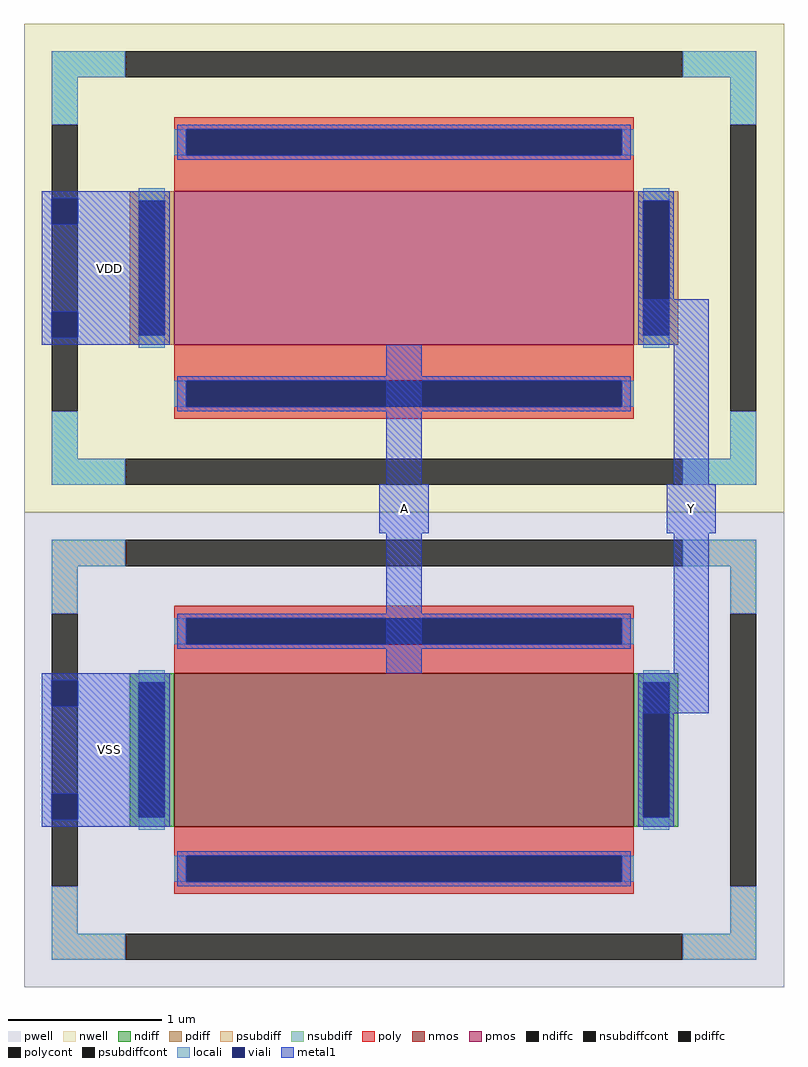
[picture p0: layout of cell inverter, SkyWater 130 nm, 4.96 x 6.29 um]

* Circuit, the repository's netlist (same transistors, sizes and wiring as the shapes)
** sch_path: /home/uri/p/tt10-sonos-flash-party/xschem/inverter.sch
.subckt inverter A Y VDD VSS
*.PININFO A:I Y:O VDD:I VSS:I
XM2 Y A VSS VSS sky130_fd_pr__nfet_01v8 L=3 W=1 nf=1 m=1
XM1 Y A VDD VDD sky130_fd_pr__pfet_01v8 L=3 W=1 nf=1 m=1
.ends
.end

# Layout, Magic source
magic
tech sky130A
magscale 1 2
<< viali >>
rect 36 376 70 410
rect 36 228 70 262
rect 36 -253 70 -219
rect 36 -401 70 -367
<< metal1 >>
rect 23 410 190 419
rect 23 376 36 410
rect 70 376 190 410
rect 23 262 190 376
rect 23 228 36 262
rect 70 228 190 262
rect 23 219 190 228
rect 808 226 894 278
rect 473 37 519 219
rect 848 37 894 226
rect 464 -27 528 37
rect 839 -27 903 37
rect 473 -210 519 -27
rect 848 -210 894 -27
rect 23 -219 190 -210
rect 23 -253 36 -219
rect 70 -253 190 -219
rect 23 -367 190 -253
rect 806 -262 894 -210
rect 23 -401 36 -367
rect 70 -401 190 -367
rect 23 -410 190 -401
use sky130_fd_pr__pfet_01v8_29FY9H  XM1
transform 1 0 496 0 1 319
box -496 -319 496 319
use sky130_fd_pr__nfet_01v8_KAAY2V  XM2
transform 1 0 496 0 1 -310
box -496 -310 496 310
<< labels >>
flabel metal1 464 -27 528 37 0 FreeMono 64 0 0 0 A
port 0 nsew signal input
flabel metal1 839 -27 903 37 0 FreeMono 64 0 0 0 Y
port 1 nsew signal output
flabel metal1 40 287 184 351 0 FreeMono 64 0 0 0 VDD
port 2 nsew power input
flabel metal1 40 -342 184 -278 0 FreeMono 64 0 0 0 VSS
port 3 nsew ground input
<< end >>

# cell sky130_fd_pr__pfet_01v8_29FY9H: kit device sky130_fd_pr__pfet_01v8, w 1.0 l 3.0 m 1 nf 1 diffcov 100 polycov 100 guard 1 glc 1 grc 1 gtc 1 gbc 1 tbcov 100 rlcov 100 topc 1 botc 1 poverlap 0 doverlap 1 lmin 0.15 wmin 0.42 class mosfet compatible {sky130_fd_pr__pfet_01v8 sky130_fd_pr__pfet_01v8_lvt sky130_fd_pr__pfet_01v8_hvt sky130_fd_pr__pfet_g5v0d10v5} full_metal 1 viasrc 100 viadrn 100 viagate 100 viagb 0 viagr 0 viagl 0 viagt 0 ad {int((nf+1)/2) * W/nf * 0.29} as {int((nf+2)/2) * W/nf * 0.29} pd {2*int((nf+1)/2) * (W/nf + 0.29)} ps {2*int((nf+2)/2) * (W/nf + 0.29)} nrd {0.29 / W} nrs {0.29 / W} sa 0 sb 0 sd 0 mult 1

# cell sky130_fd_pr__nfet_01v8_KAAY2V: kit device sky130_fd_pr__nfet_01v8, w 1.0 l 3.0 m 1 nf 1 diffcov 100 polycov 100 guard 1 glc 1 grc 1 gtc 1 gbc 1 tbcov 100 rlcov 100 topc 1 botc 1 poverlap 0 doverlap 1 lmin 0.15 wmin 0.42 class mosfet compatible {sky130_fd_pr__nfet_01v8 sky130_fd_pr__nfet_01v8_lvt sky130_fd_bs_flash__special_sonosfet_star sky130_fd_pr__nfet_g5v0d10v5 sky130_fd_pr__nfet_05v0_nvt sky130_fd_pr__nfet_03v3_nvt} full_metal 1 viasrc 100 viadrn 100 viagate 100 viagb 0 viagr 0 viagl 0 viagt 0 ad {int((nf+1)/2) * W/nf * 0.29} as {int((nf+2)/2) * W/nf * 0.29} pd {2*int((nf+1)/2) * (W/nf + 0.29)} ps {2*int((nf+2)/2) * (W/nf + 0.29)} nrd {0.29 / W} nrs {0.29 / W} sa 0 sb 0 sd 0 mult 1
